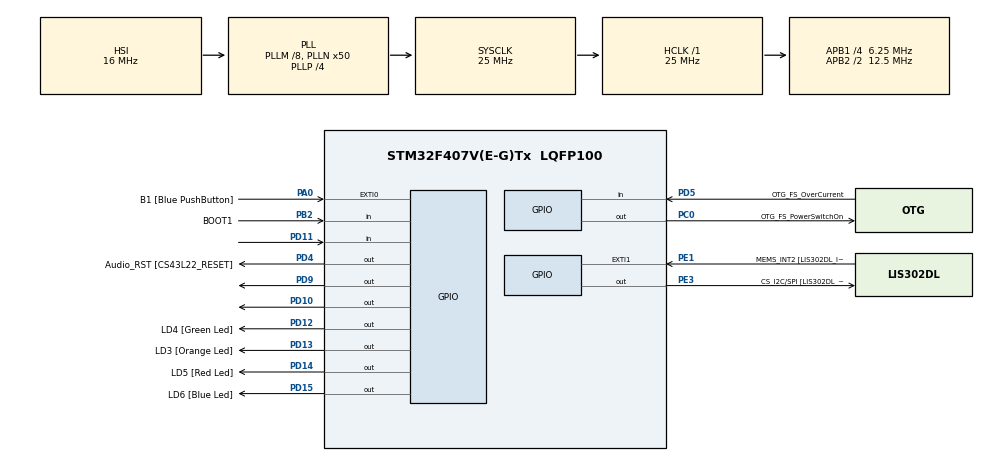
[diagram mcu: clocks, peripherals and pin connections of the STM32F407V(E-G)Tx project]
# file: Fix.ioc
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Mcu.Family=STM32F4
Mcu.Name=STM32F407V(E-G)Tx
Mcu.Package=LQFP100
NVIC.PriorityGroup=NVIC_PRIORITYGROUP_0
PA0-WKUP.GPIO_Label=B1 [Blue PushButton]
PA0-WKUP.Signal=GPXTI0
PA10.GPIO_Label=OTG_FS_ID
PA10.GPIO_Mode=GPIO_MODE_AF_PP
PA10.GPIO_PuPd=GPIO_NOPULL
PA10.GPIO_Speed=GPIO_SPEED_FREQ_LOW
PA10.Signal=USB_OTG_FS_ID
PA11.GPIO_Label=OTG_FS_DM
PA11.GPIO_Mode=GPIO_MODE_AF_PP
PA11.GPIO_PuPd=GPIO_NOPULL
PA11.GPIO_Speed=GPIO_SPEED_FREQ_LOW
PA11.Signal=USB_OTG_FS_DM
PA12.GPIO_Label=OTG_FS_DP
PA12.GPIO_Mode=GPIO_MODE_AF_PP
PA12.GPIO_PuPd=GPIO_NOPULL
PA12.GPIO_Speed=GPIO_SPEED_FREQ_LOW
PA12.Signal=USB_OTG_FS_DP
PA13.GPIO_Label=SWDIO
PA13.Signal=SYS_JTMS-SWDIO
PA14.GPIO_Label=SWCLK
PA14.Signal=SYS_JTCK-SWCLK
PA4.GPIO_Label=I2S3_WS [CS43L22_LRCK]
PA4.GPIO_Mode=GPIO_MODE_AF_PP
PA4.GPIO_PuPd=GPIO_NOPULL
PA4.GPIO_Speed=GPIO_SPEED_FREQ_LOW
PA4.Signal=I2S3_WS
PA5.GPIO_Label=SPI1_SCK [LIS302DL_SCL/SPC]
PA5.GPIO_Mode=GPIO_MODE_AF_PP
PA5.GPIO_PuPd=GPIO_NOPULL
PA5.GPIO_Speed=GPIO_SPEED_FREQ_LOW
PA5.Signal=SPI1_SCK
PA6.GPIO_Label=SPI1_MISO [LIS302DL_SDO]
PA6.GPIO_Mode=GPIO_MODE_AF_PP
PA6.GPIO_PuPd=GPIO_NOPULL
PA6.GPIO_Speed=GPIO_SPEED_FREQ_LOW
PA6.Signal=SPI1_MISO
PA7.GPIO_Label=SPI1_MOSI [LIS302DL_SDA/SDI/SDO]
PA7.GPIO_Mode=GPIO_MODE_AF_PP
PA7.GPIO_PuPd=GPIO_NOPULL
PA7.GPIO_Speed=GPIO_SPEED_FREQ_LOW
PA7.Signal=SPI1_MOSI
PA9.GPIO_Label=VBUS_FS
PA9.GPIO_Mode=GPIO_MODE_INPUT
PA9.GPIO_PuPd=GPIO_NOPULL
PA9.Signal=USB_OTG_FS_VBUS
PB10.GPIO_Label=CLK_IN [MP45DT02_CLK]
PB10.GPIO_Mode=GPIO_MODE_AF_PP
PB10.GPIO_PuPd=GPIO_NOPULL
PB10.GPIO_Speed=GPIO_SPEED_FREQ_LOW
PB10.Signal=I2S2_CK
PB2.GPIO_Label=BOOT1
PB2.GPIO_Mode=GPIO_MODE_INPUT
PB2.GPIO_PuPd=GPIO_NOPULL
PB2.Signal=GPIO_Input
PB3.GPIO_Label=SWO
PB3.Signal=SYS_JTDO-SWO
PB6.GPIO_Label=Audio_SCL [CS43L22_SCL]
PB6.GPIO_Mode=GPIO_MODE_AF_OD
PB6.GPIO_PuPd=GPIO_NOPULL
PB6.GPIO_Speed=GPIO_SPEED_FREQ_LOW
PB6.Signal=I2C1_SCL
PB9.GPIO_Label=Audio_SDA [CS43L22_SDA]
PB9.GPIO_Mode=GPIO_MODE_AF_OD
PB9.GPIO_PuPd=GPIO_NOPULL
PB9.GPIO_Speed=GPIO_SPEED_FREQ_LOW
PB9.Signal=I2C1_SDA
PC0.GPIO_Label=OTG_FS_PowerSwitchOn
PC0.GPIO_PuPd=GPIO_NOPULL
PC0.GPIO_Speed=GPIO_SPEED_FREQ_LOW
PC0.PinState=GPIO_PIN_SET
PC0.Signal=GPIO_Output
PC10.GPIO_Label=I2S3_SCK [CS43L22_SCLK]
PC10.GPIO_Mode=GPIO_MODE_AF_PP
PC10.GPIO_PuPd=GPIO_NOPULL
PC10.GPIO_Speed=GPIO_SPEED_FREQ_LOW
PC10.Signal=I2S3_CK
PC12.GPIO_Label=I2S3_SD [CS43L22_SDIN]
PC12.GPIO_Mode=GPIO_MODE_AF_PP
PC12.GPIO_PuPd=GPIO_NOPULL
PC12.GPIO_Speed=GPIO_SPEED_FREQ_LOW
PC12.Signal=I2S3_SD
PC14-OSC32_IN.GPIO_Label=PC14-OSC32_IN
PC14-OSC32_IN.Signal=RCC_OSC32_IN
PC15-OSC32_OUT.GPIO_Label=PC15-OSC32_OUT
PC15-OSC32_OUT.Signal=RCC_OSC32_OUT
PC3.GPIO_Label=PDM_OUT [MP45DT02_DOUT]
PC3.GPIO_Mode=GPIO_MODE_AF_PP
PC3.GPIO_PuPd=GPIO_NOPULL
PC3.GPIO_Speed=GPIO_SPEED_FREQ_LOW
PC3.Signal=I2S2_SD
PC7.GPIO_Label=I2S3_MCK [CS43L22_MCLK]
PC7.GPIO_Mode=GPIO_MODE_AF_PP
PC7.GPIO_PuPd=GPIO_NOPULL
PC7.GPIO_Speed=GPIO_SPEED_FREQ_LOW
PC7.Signal=I2S3_MCK
PD10.Signal=GPIO_Output
PD11.Signal=GPIO_Input
PD12.GPIO_Label=LD4 [Green Led]
PD12.GPIO_PuPd=GPIO_NOPULL
PD12.GPIO_Speed=GPIO_SPEED_FREQ_LOW
PD12.Signal=GPIO_Output
PD13.GPIO_Label=LD3 [Orange Led]
PD13.GPIO_PuPd=GPIO_NOPULL
PD13.GPIO_Speed=GPIO_SPEED_FREQ_LOW
PD13.Signal=GPIO_Output
PD14.GPIO_Label=LD5 [Red Led]
PD14.GPIO_PuPd=GPIO_NOPULL
PD14.GPIO_Speed=GPIO_SPEED_FREQ_LOW
PD14.Signal=GPIO_Output
PD15.GPIO_Label=LD6 [Blue Led]
PD15.GPIO_PuPd=GPIO_NOPULL
PD15.GPIO_Speed=GPIO_SPEED_FREQ_LOW
PD15.Signal=GPIO_Output
PD4.GPIO_Label=Audio_RST [CS43L22_RESET]
PD4.GPIO_PuPd=GPIO_NOPULL
PD4.GPIO_Speed=GPIO_SPEED_FREQ_LOW
PD4.Signal=GPIO_Output
PD5.GPIO_Label=OTG_FS_OverCurrent
PD5.GPIO_Mode=GPIO_MODE_INPUT
PD5.GPIO_PuPd=GPIO_NOPULL
PD5.Signal=GPIO_Input
PD9.Signal=GPIO_Output
PE1.GPIO_Label=MEMS_INT2 [LIS302DL_INT2]
PE1.GPIO_ModeDefaultEXTI=GPIO_MODE_EVT_RISING
PE1.GPIO_PuPd=GPIO_NOPULL
PE1.Signal=GPXTI1
PE3.GPIO_Label=CS_I2C/SPI [LIS302DL_CS_I2C/SPI]
PE3.GPIO_PuPd=GPIO_NOPULL
PE3.GPIO_Speed=GPIO_SPEED_FREQ_LOW
PE3.Signal=GPIO_Output
PH0-OSC_IN.GPIO_Label=PH0-OSC_IN
PH0-OSC_IN.Signal=RCC_OSC_IN
PH1-OSC_OUT.GPIO_Label=PH1-OSC_OUT
PH1-OSC_OUT.Signal=RCC_OSC_OUT
ProjectManager.HeapSize=0x200
ProjectManager.StackSize=0x400
ProjectManager.TargetToolchain=SW4STM32
RCC.48MHZClocksFreq_Value=14285714.285714285
RCC.AHBFreq_Value=25000000
RCC.APB1CLKDivider=RCC_HCLK_DIV4
RCC.APB1Freq_Value=6250000
RCC.APB1TimFreq_Value=12500000
RCC.APB2CLKDivider=RCC_HCLK_DIV2
RCC.APB2Freq_Value=12500000
RCC.APB2TimFreq_Value=25000000
RCC.CortexFreq_Value=25000000
RCC.HCLKFreq_Value=25000000
RCC.HSE_VALUE=8000000
RCC.HSI_VALUE=16000000
RCC.LSE_VALUE=32768
RCC.PLLM=8
RCC.PLLN=50
RCC.PLLP=RCC_PLLP_DIV4
RCC.PLLQ=7
RCC.SYSCLKFreq_VALUE=25000000
RCC.SYSCLKSource=RCC_SYSCLKSOURCE_PLLCLK
RCC.VCOOutputFreq_Value=100000000
board=STM32F4DISCOVERY

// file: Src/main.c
/**
  ******************************************************************************
  * File Name          : main.c
  * Description        : Main program body
  ******************************************************************************
  ** This notice applies to any and all portions of this file
  * that are not between comment pairs USER CODE BEGIN and
  * USER CODE END. Other portions of this file, whether
  * inserted by the user or by software development tools
  * are owned by their respective copyright owners.
  *
  * COPYRIGHT(c) 2017 STMicroelectronics
  *
  * Redistribution and use in source and binary forms, with or without modification,
  * are permitted provided that the following conditions are met:
  *   1. Redistributions of source code must retain the above copyright notice,
  *      this list of conditions and the following disclaimer.
  *   2. Redistributions in binary form must reproduce the above copyright notice,
  *      this list of conditions and the following disclaimer in the documentation
  *      and/or other materials provided with the distribution.
  *   3. Neither the name of STMicroelectronics nor the names of its contributors
  *      may be used to endorse or promote products derived from this software
  *      without specific prior written permission.
  *
  * THIS SOFTWARE IS PROVIDED BY THE COPYRIGHT HOLDERS AND CONTRIBUTORS "AS IS"
  * AND ANY EXPRESS OR IMPLIED WARRANTIES, INCLUDING, BUT NOT LIMITED TO, THE
  * IMPLIED WARRANTIES OF MERCHANTABILITY AND FITNESS FOR A PARTICULAR PURPOSE ARE
  * DISCLAIMED. IN NO EVENT SHALL THE COPYRIGHT HOLDER OR CONTRIBUTORS BE LIABLE
  * FOR ANY DIRECT, INDIRECT, INCIDENTAL, SPECIAL, EXEMPLARY, OR CONSEQUENTIAL
  * DAMAGES (INCLUDING, BUT NOT LIMITED TO, PROCUREMENT OF SUBSTITUTE GOODS OR
  * SERVICES; LOSS OF USE, DATA, OR PROFITS; OR BUSINESS INTERRUPTION) HOWEVER
  * CAUSED AND ON ANY THEORY OF LIABILITY, WHETHER IN CONTRACT, STRICT LIABILITY,
  * OR TORT (INCLUDING NEGLIGENCE OR OTHERWISE) ARISING IN ANY WAY OUT OF THE USE
  * OF THIS SOFTWARE, EVEN IF ADVISED OF THE POSSIBILITY OF SUCH DAMAGE.
  *
  ******************************************************************************
  */

#include "main.h"
#include "stm32f4xx_hal.h"

/* USER CODE BEGIN PV */
/* Private variables ---------------------------------------------------------*/

/* USER CODE END PV */

void SystemClock_Config(void);
static void MX_GPIO_Init(void);

/* USER CODE BEGIN PFP */
/* Private function prototypes -----------------------------------------------*/

/* USER CODE END PFP */

/* USER CODE BEGIN 0 */
void myDelay(uint32_t time) {
	uint32_t start,current;
	start = DWT->CYCCNT;
	do { current = DWT->CYCCNT; }
	while (current-start < time);

}

int get(void)
{
    int check=0;
    int ans=0;
    HAL_GPIO_WritePin(GPIOD, GPIO_PIN_10, 0);
    myDelay(250);
    HAL_GPIO_WritePin(GPIOD,GPIO_PIN_10,1);
    myDelay(250);
    HAL_GPIO_WritePin(GPIOD,GPIO_PIN_10,0);
    myDelay(250);
  while(check == 0)
  {
   while(HAL_GPIO_ReadPin(GPIOD,GPIO_PIN_11))
   {
     ans++;
     check = 1;
   }

  }
    return ans;
}
int use = 0;
/* USER CODE END 0 */

int main(void)
{

  /* MCU Configuration----------------------------------------------------------*/

  /* Reset of all peripherals, Initializes the Flash interface and the Systick. */
  HAL_Init();

  /* Configure the system clock */
  SystemClock_Config();

  /* Initialize all configured peripherals */
  MX_GPIO_Init();

  /* Infinite loop */
  while (1)
  {

  /* USER CODE BEGIN 3 */
	  use = get();
	  	  HAL_Delay(250);
	  	  if (use < 10000) {
	  		  HAL_GPIO_WritePin(GPIOD,GPIO_PIN_9,1);

	  	  }
	  	  else {
	  		  HAL_GPIO_WritePin(GPIOD,GPIO_PIN_9,0);
	  	  }

  }
  /* USER CODE END 3 */

}

/** System Clock Configuration
*/
void SystemClock_Config(void)
{

  RCC_OscInitTypeDef RCC_OscInitStruct;
  RCC_ClkInitTypeDef RCC_ClkInitStruct;

    /**Configure the main internal regulator output voltage
    */
  __HAL_RCC_PWR_CLK_ENABLE();

  __HAL_PWR_VOLTAGESCALING_CONFIG(PWR_REGULATOR_VOLTAGE_SCALE1);

    /**Initializes the CPU, AHB and APB busses clocks
    */
  RCC_OscInitStruct.OscillatorType = RCC_OSCILLATORTYPE_HSI;
  RCC_OscInitStruct.HSIState = RCC_HSI_ON;
  RCC_OscInitStruct.HSICalibrationValue = 16;
  RCC_OscInitStruct.PLL.PLLState = RCC_PLL_ON;
  RCC_OscInitStruct.PLL.PLLSource = RCC_PLLSOURCE_HSI;
  RCC_OscInitStruct.PLL.PLLM = 8;
  RCC_OscInitStruct.PLL.PLLN = 50;
  RCC_OscInitStruct.PLL.PLLP = RCC_PLLP_DIV4;
  RCC_OscInitStruct.PLL.PLLQ = 7;
  if (HAL_RCC_OscConfig(&RCC_OscInitStruct) != HAL_OK)
  {
    _Error_Handler(__FILE__, __LINE__);
  }

    /**Initializes the CPU, AHB and APB busses clocks
    */
  RCC_ClkInitStruct.ClockType = RCC_CLOCKTYPE_HCLK|RCC_CLOCKTYPE_SYSCLK
                              |RCC_CLOCKTYPE_PCLK1|RCC_CLOCKTYPE_PCLK2;
  RCC_ClkInitStruct.SYSCLKSource = RCC_SYSCLKSOURCE_PLLCLK;
  RCC_ClkInitStruct.AHBCLKDivider = RCC_SYSCLK_DIV1;
  RCC_ClkInitStruct.APB1CLKDivider = RCC_HCLK_DIV4;
  RCC_ClkInitStruct.APB2CLKDivider = RCC_HCLK_DIV2;

  if (HAL_RCC_ClockConfig(&RCC_ClkInitStruct, FLASH_LATENCY_0) != HAL_OK)
  {
    _Error_Handler(__FILE__, __LINE__);
  }

    /**Configure the Systick interrupt time
    */
  HAL_SYSTICK_Config(HAL_RCC_GetHCLKFreq()/1000);

    /**Configure the Systick
    */
  HAL_SYSTICK_CLKSourceConfig(SYSTICK_CLKSOURCE_HCLK);

  /* SysTick_IRQn interrupt configuration */
  HAL_NVIC_SetPriority(SysTick_IRQn, 0, 0);
}

/** Configure pins as
        * Analog
        * Input
        * Output
        * EVENT_OUT
        * EXTI
     PC3   ------> I2S2_SD
     PA4   ------> I2S3_WS
     PA5   ------> SPI1_SCK
     PA6   ------> SPI1_MISO
     PA7   ------> SPI1_MOSI
     PB10   ------> I2S2_CK
     PC7   ------> I2S3_MCK
     PA9   ------> USB_OTG_FS_VBUS
     PA10   ------> USB_OTG_FS_ID
     PA11   ------> USB_OTG_FS_DM
     PA12   ------> USB_OTG_FS_DP
     PC10   ------> I2S3_CK
     PC12   ------> I2S3_SD
     PB6   ------> I2C1_SCL
     PB9   ------> I2C1_SDA
*/
static void MX_GPIO_Init(void)
{

  GPIO_InitTypeDef GPIO_InitStruct;

  /* GPIO Ports Clock Enable */
  __HAL_RCC_GPIOE_CLK_ENABLE();
  __HAL_RCC_GPIOC_CLK_ENABLE();
  __HAL_RCC_GPIOH_CLK_ENABLE();
  __HAL_RCC_GPIOA_CLK_ENABLE();
  __HAL_RCC_GPIOB_CLK_ENABLE();
  __HAL_RCC_GPIOD_CLK_ENABLE();

  /*Configure GPIO pin Output Level */
  HAL_GPIO_WritePin(CS_I2C_SPI_GPIO_Port, CS_I2C_SPI_Pin, GPIO_PIN_RESET);

  /*Configure GPIO pin Output Level */
  HAL_GPIO_WritePin(OTG_FS_PowerSwitchOn_GPIO_Port, OTG_FS_PowerSwitchOn_Pin, GPIO_PIN_SET);

  /*Configure GPIO pin Output Level */
  HAL_GPIO_WritePin(GPIOD, GPIO_PIN_9|GPIO_PIN_10|LD4_Pin|LD3_Pin
                          |LD5_Pin|LD6_Pin|Audio_RST_Pin, GPIO_PIN_RESET);

  /*Configure GPIO pin : CS_I2C_SPI_Pin */
  GPIO_InitStruct.Pin = CS_I2C_SPI_Pin;
  GPIO_InitStruct.Mode = GPIO_MODE_OUTPUT_PP;
  GPIO_InitStruct.Pull = GPIO_NOPULL;
  GPIO_InitStruct.Speed = GPIO_SPEED_FREQ_LOW;
  HAL_GPIO_Init(CS_I2C_SPI_GPIO_Port, &GPIO_InitStruct);

  /*Configure GPIO pin : OTG_FS_PowerSwitchOn_Pin */
  GPIO_InitStruct.Pin = OTG_FS_PowerSwitchOn_Pin;
  GPIO_InitStruct.Mode = GPIO_MODE_OUTPUT_PP;
  GPIO_InitStruct.Pull = GPIO_NOPULL;
  GPIO_InitStruct.Speed = GPIO_SPEED_FREQ_LOW;
  HAL_GPIO_Init(OTG_FS_PowerSwitchOn_GPIO_Port, &GPIO_InitStruct);

  /*Configure GPIO pin : PDM_OUT_Pin */
  GPIO_InitStruct.Pin = PDM_OUT_Pin;
  GPIO_InitStruct.Mode = GPIO_MODE_AF_PP;
  GPIO_InitStruct.Pull = GPIO_NOPULL;
  GPIO_InitStruct.Speed = GPIO_SPEED_FREQ_LOW;
  GPIO_InitStruct.Alternate = GPIO_AF5_SPI2;
  HAL_GPIO_Init(PDM_OUT_GPIO_Port, &GPIO_InitStruct);

  /*Configure GPIO pin : B1_Pin */
  GPIO_InitStruct.Pin = B1_Pin;
  GPIO_InitStruct.Mode = GPIO_MODE_IT_RISING;
  GPIO_InitStruct.Pull = GPIO_NOPULL;
  HAL_GPIO_Init(B1_GPIO_Port, &GPIO_InitStruct);

  /*Configure GPIO pin : I2S3_WS_Pin */
  GPIO_InitStruct.Pin = I2S3_WS_Pin;
  GPIO_InitStruct.Mode = GPIO_MODE_AF_PP;
  GPIO_InitStruct.Pull = GPIO_NOPULL;
  GPIO_InitStruct.Speed = GPIO_SPEED_FREQ_LOW;
  GPIO_InitStruct.Alternate = GPIO_AF6_SPI3;
  HAL_GPIO_Init(I2S3_WS_GPIO_Port, &GPIO_InitStruct);

  /*Configure GPIO pins : SPI1_SCK_Pin SPI1_MISO_Pin SPI1_MOSI_Pin */
  GPIO_InitStruct.Pin = SPI1_SCK_Pin|SPI1_MISO_Pin|SPI1_MOSI_Pin;
  GPIO_InitStruct.Mode = GPIO_MODE_AF_PP;
  GPIO_InitStruct.Pull = GPIO_NOPULL;
  GPIO_InitStruct.Speed = GPIO_SPEED_FREQ_LOW;
  GPIO_InitStruct.Alternate = GPIO_AF5_SPI1;
  HAL_GPIO_Init(GPIOA, &GPIO_InitStruct);

  /*Configure GPIO pin : BOOT1_Pin */
  GPIO_InitStruct.Pin = BOOT1_Pin;
  GPIO_InitStruct.Mode = GPIO_MODE_INPUT;
  GPIO_InitStruct.Pull = GPIO_NOPULL;
  HAL_GPIO_Init(BOOT1_GPIO_Port, &GPIO_InitStruct);

  /*Configure GPIO pin : CLK_IN_Pin */
  GPIO_InitStruct.Pin = CLK_IN_Pin;
  GPIO_InitStruct.Mode = GPIO_MODE_AF_PP;
  GPIO_InitStruct.Pull = GPIO_NOPULL;
  GPIO_InitStruct.Speed = GPIO_SPEED_FREQ_LOW;
  GPIO_InitStruct.Alternate = GPIO_AF5_SPI2;
  HAL_GPIO_Init(CLK_IN_GPIO_Port, &GPIO_InitStruct);

  /*Configure GPIO pins : PD9 PD10 LD4_Pin LD3_Pin
                           LD5_Pin LD6_Pin Audio_RST_Pin */
  GPIO_InitStruct.Pin = GPIO_PIN_9|GPIO_PIN_10|LD4_Pin|LD3_Pin
                          |LD5_Pin|LD6_Pin|Audio_RST_Pin;
  GPIO_InitStruct.Mode = GPIO_MODE_OUTPUT_PP;
  GPIO_InitStruct.Pull = GPIO_NOPULL;
  GPIO_InitStruct.Speed = GPIO_SPEED_FREQ_LOW;
  HAL_GPIO_Init(GPIOD, &GPIO_InitStruct);

  /*Configure GPIO pins : PD11 OTG_FS_OverCurrent_Pin */
  GPIO_InitStruct.Pin = GPIO_PIN_11|OTG_FS_OverCurrent_Pin;
  GPIO_InitStruct.Mode = GPIO_MODE_INPUT;
  GPIO_InitStruct.Pull = GPIO_NOPULL;
  HAL_GPIO_Init(GPIOD, &GPIO_InitStruct);

  /*Configure GPIO pins : I2S3_MCK_Pin I2S3_SCK_Pin I2S3_SD_Pin */
  GPIO_InitStruct.Pin = I2S3_MCK_Pin|I2S3_SCK_Pin|I2S3_SD_Pin;
  GPIO_InitStruct.Mode = GPIO_MODE_AF_PP;
  GPIO_InitStruct.Pull = GPIO_NOPULL;
  GPIO_InitStruct.Speed = GPIO_SPEED_FREQ_LOW;
  GPIO_InitStruct.Alternate = GPIO_AF6_SPI3;
  HAL_GPIO_Init(GPIOC, &GPIO_InitStruct);

  /*Configure GPIO pin : VBUS_FS_Pin */
  GPIO_InitStruct.Pin = VBUS_FS_Pin;
  GPIO_InitStruct.Mode = GPIO_MODE_INPUT;
  GPIO_InitStruct.Pull = GPIO_NOPULL;
  HAL_GPIO_Init(VBUS_FS_GPIO_Port, &GPIO_InitStruct);

  /*Configure GPIO pins : OTG_FS_ID_Pin OTG_FS_DM_Pin OTG_FS_DP_Pin */
  GPIO_InitStruct.Pin = OTG_FS_ID_Pin|OTG_FS_DM_Pin|OTG_FS_DP_Pin;
  GPIO_InitStruct.Mode = GPIO_MODE_AF_PP;
  GPIO_InitStruct.Pull = GPIO_NOPULL;
  GPIO_InitStruct.Speed = GPIO_SPEED_FREQ_LOW;
  GPIO_InitStruct.Alternate = GPIO_AF10_OTG_FS;
  HAL_GPIO_Init(GPIOA, &GPIO_InitStruct);

  /*Configure GPIO pins : Audio_SCL_Pin Audio_SDA_Pin */
  GPIO_InitStruct.Pin = Audio_SCL_Pin|Audio_SDA_Pin;
  GPIO_InitStruct.Mode = GPIO_MODE_AF_OD;
  GPIO_InitStruct.Pull = GPIO_PULLUP;
  GPIO_InitStruct.Speed = GPIO_SPEED_FREQ_LOW;
  GPIO_InitStruct.Alternate = GPIO_AF4_I2C1;
  HAL_GPIO_Init(GPIOB, &GPIO_InitStruct);

  /*Configure GPIO pin : MEMS_INT2_Pin */
  GPIO_InitStruct.Pin = MEMS_INT2_Pin;
  GPIO_InitStruct.Mode = GPIO_MODE_EVT_RISING;
  GPIO_InitStruct.Pull = GPIO_NOPULL;
  HAL_GPIO_Init(MEMS_INT2_GPIO_Port, &GPIO_InitStruct);

}

void _Error_Handler(char * file, int line)
{
  while(1)
  {
  }
}

/************************ (C) COPYRIGHT STMicroelectronics *****END OF FILE****/
